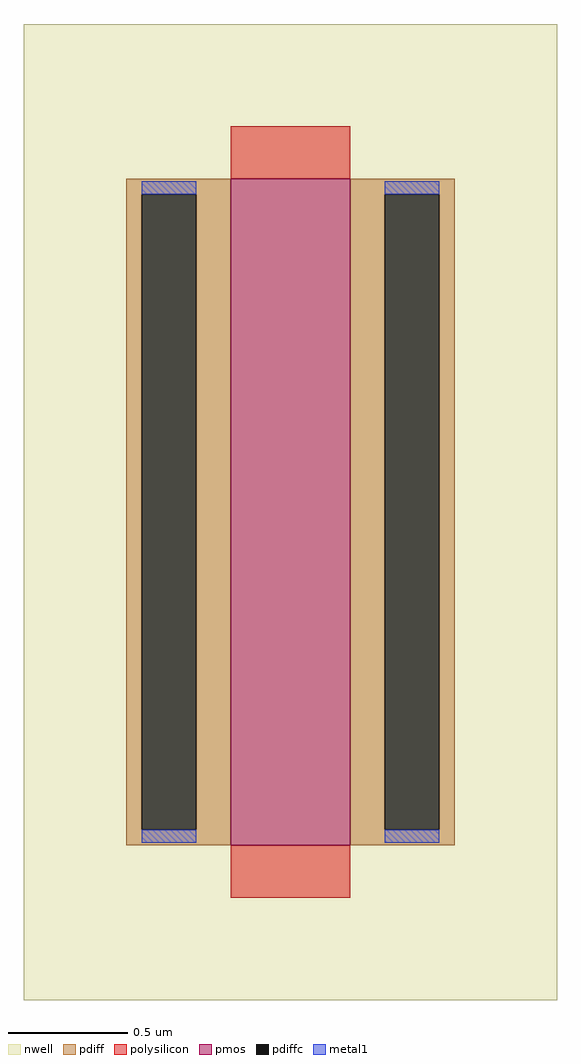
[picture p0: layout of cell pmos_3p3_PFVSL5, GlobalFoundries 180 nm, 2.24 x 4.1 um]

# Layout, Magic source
magic
tech gf180mcuC
magscale 1 10
<< nwell >>
rect -224 -410 224 410
<< pmos >>
rect -50 -280 50 280
<< pdiff >>
rect -138 267 -50 280
rect -138 -267 -125 267
rect -79 -267 -50 267
rect -138 -280 -50 -267
rect 50 267 138 280
rect 50 -267 79 267
rect 125 -267 138 267
rect 50 -280 138 -267
<< pdiffc >>
rect -125 -267 -79 267
rect 79 -267 125 267
<< polysilicon >>
rect -50 280 50 324
rect -50 -324 50 -280
<< metal1 >>
rect -125 267 -79 278
rect -125 -278 -79 -267
rect 79 267 125 278
rect 79 -278 125 -267
<< properties >>
string gencell pmos_3p3
string library gf180mcu
string parameters w 2.8 l 0.5 m 1 nf 1 diffcov 100 polycov 100 guard 0 glc 0 grc 0 gtc 0 gbc 0 tbcov 100 rlcov 100 topc 0 botc 0 poverlap 0 doverlap 1 lmin 0.28 wmin 0.22 full_metal 0 compatible {pmos_3p3 pmos_6p0}
<< end >>
